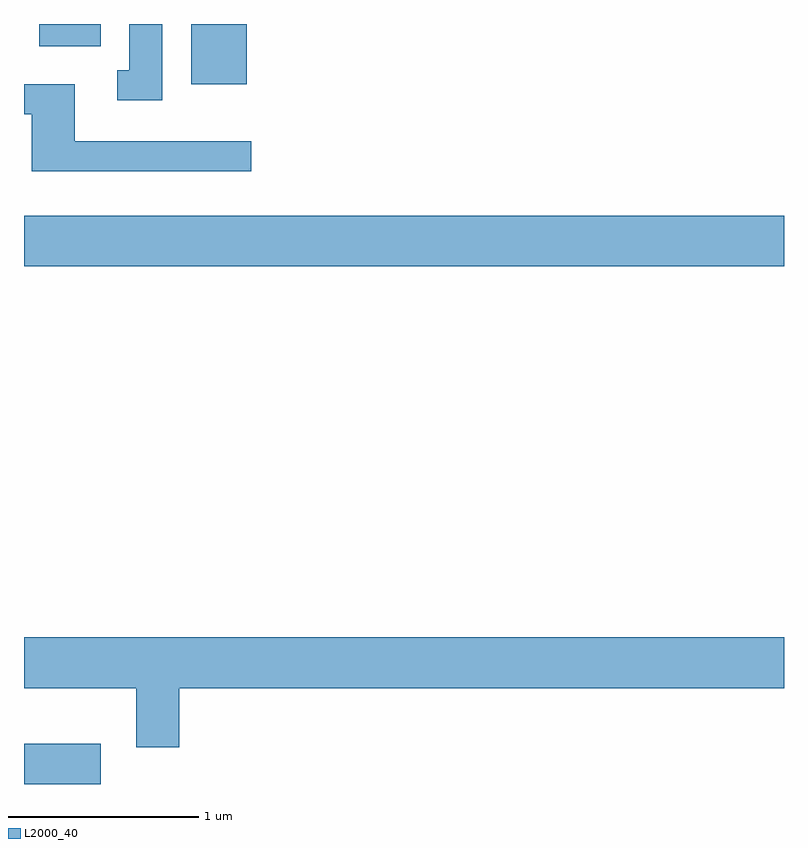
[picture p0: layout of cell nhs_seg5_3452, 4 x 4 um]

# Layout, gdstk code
import gdstk
lib = gdstk.Library(unit=1e-6, precision=1e-09)
def R(c, l, rs):  # rectangles x0, y0, x1, y1
    for r in rs: c.add(gdstk.rectangle(r[:2], r[2:], *l))
def P(c, l, *ps):  # polygons
    for p in ps: c.add(gdstk.Polygon(p, *l))
L2000_40 = (2000, 40)

nhs_seg5_3452 = lib.new_cell('nhs_seg5_3452')
R(nhs_seg5_3452, L2000_40, [(287.611,1454.072,288.014,1454.284), (287.611,1456.796,291.611,1457.064), (288.491,1457.756,288.784,1458.072), (287.691,1457.956,288.014,1458.072)])
P(nhs_seg5_3452, L2000_40, [(288.339,1458.072),(288.166,1458.072),(288.166,1457.829),(288.103,1457.829),(288.103,1457.671),(288.339,1457.671)],
  [(288.808,1457.454),(287.879,1457.454),(287.879,1457.754),(287.611,1457.754),(287.611,1457.596),(287.651,1457.596),(287.651,1457.296),(288.808,1457.296)],
  [(288.429,1454.576),(291.611,1454.576),(291.611,1454.844),(287.611,1454.844),(287.611,1454.576),(288.201,1454.576),(288.201,1454.266),(288.429,1454.266)])

lib.write_gds('nhs_seg5_3452.gds')
